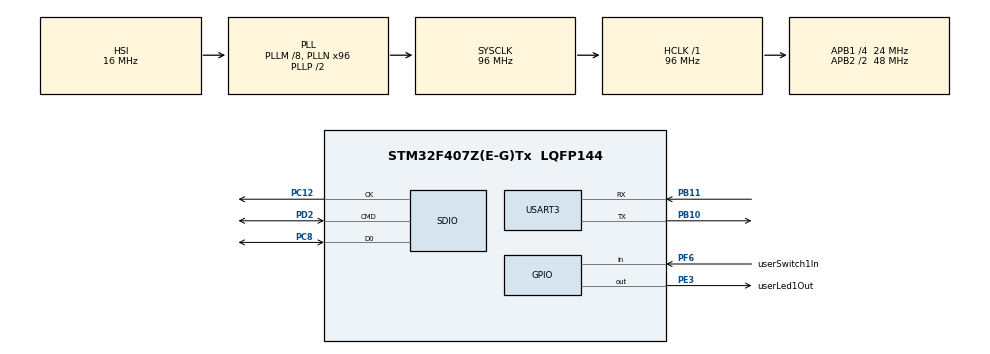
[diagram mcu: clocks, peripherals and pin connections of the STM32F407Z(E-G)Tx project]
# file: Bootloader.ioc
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FATFS._MAX_SS=4096
FATFS._USE_LFN=1
Mcu.Family=STM32F4
Mcu.Name=STM32F407Z(E-G)Tx
Mcu.Package=LQFP144
NVIC.PriorityGroup=NVIC_PRIORITYGROUP_4
PB10.Mode=Asynchronous
PB10.Signal=USART3_TX
PB11.Mode=Asynchronous
PB11.Signal=USART3_RX
PC12.Mode=SD_1_bit
PC12.Signal=SDIO_CK
PC8.Mode=SD_1_bit
PC8.Signal=SDIO_D0
PD2.Mode=SD_1_bit
PD2.Signal=SDIO_CMD
PE3.GPIO_Label=userLed1Out
PE3.Signal=GPIO_Output
PF6.GPIO_Label=userSwitch1In
PF6.GPIO_PuPd=GPIO_PULLUP
PF6.Signal=GPIO_Input
ProjectManager.HeapSize=0x200
ProjectManager.StackSize=0x400
ProjectManager.TargetToolchain=STM32CubeIDE
RCC.48MHZClocksFreq_Value=48000000
RCC.AHBFreq_Value=96000000
RCC.APB1CLKDivider=RCC_HCLK_DIV4
RCC.APB1Freq_Value=24000000
RCC.APB1TimFreq_Value=48000000
RCC.APB2CLKDivider=RCC_HCLK_DIV2
RCC.APB2Freq_Value=48000000
RCC.APB2TimFreq_Value=96000000
RCC.CortexFreq_Value=96000000
RCC.HCLKFreq_Value=96000000
RCC.HSE_VALUE=25000000
RCC.HSI_VALUE=16000000
RCC.LSE_VALUE=32768
RCC.PLLM=8
RCC.PLLN=96
RCC.SYSCLKFreq_VALUE=96000000
RCC.SYSCLKSource=RCC_SYSCLKSOURCE_PLLCLK
RCC.VCOOutputFreq_Value=192000000
SDIO.ClockDiv=1
USART3.VirtualMode=VM_ASYNC
VP_FATFS_VS_SDIO.Mode=SDIO
board=custom

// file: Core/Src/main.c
/* USER CODE BEGIN Header */
/**
 ******************************************************************************
 * @file           : main.c
 * @brief          : Main program body
 ******************************************************************************
 * @attention
 *
 * Copyright (c) 2024 STMicroelectronics.
 * All rights reserved.
 *
 * This software is licensed under terms that can be found in the LICENSE file
 * in the root directory of this software component.
 * If no LICENSE file comes with this software, it is provided AS-IS.
 *
 ******************************************************************************
 */
/* USER CODE END Header */
#include "main.h"
#include "fatfs.h"
#include "sdio.h"
#include "usart.h"
#include "gpio.h"

/* USER CODE BEGIN Includes */
#include "stdio.h"
/* USER CODE END Includes */

/* USER CODE BEGIN PD */
#define bufferSize 512
/* USER CODE END PD */

/* USER CODE BEGIN PV */

FATFS fatfs;
FIL fil;
FRESULT fresult;
FILINFO info;

UINT bytesRead = 0;
uint8_t readBuffer[bufferSize];
/* USER CODE END PV */

void SystemClock_Config(void);
/* USER CODE BEGIN PFP */
static void gotoApp(void);
/* USER CODE END PFP */

/* USER CODE BEGIN 0 */
void sendData(char *msg){
	while(*msg != '\0'){
		HAL_UART_Transmit(&huart3, (uint8_t *)msg, 1, 1000);
		msg++;
	}
}

void flashErase(void) {
	HAL_StatusTypeDef res;
	uint32_t sectorError;

	HAL_FLASH_Unlock();
	/* Check if the FLASH_FLAG_BSY */
	FLASH_WaitForLastOperation(HAL_MAX_DELAY);

	/* Clear all flags before write it to flash */
	__HAL_FLASH_CLEAR_FLAG(
			FLASH_FLAG_EOP | FLASH_FLAG_OPERR | FLASH_FLAG_WRPERR | FLASH_FLAG_PGAERR | FLASH_FLAG_PGPERR | FLASH_FLAG_PGSERR);

	sendData("Erasing the Flash Memory...\r\n");

	/* Erase the flash */
	FLASH_EraseInitTypeDef flashErase;

	flashErase.TypeErase = FLASH_TYPEERASE_SECTORS;
	flashErase.Sector = FLASH_SECTOR_5;
	flashErase.NbSectors = 2;
	flashErase.VoltageRange = FLASH_VOLTAGE_RANGE_3;

	res = HAL_FLASHEx_Erase(&flashErase, &sectorError);
	if (res != HAL_OK) {
		sendData("Flash erqse Error!\r\n");

	} else {
		sendData("Flash erase Successfull...!\r\n");
	}
}

void flashProgram(void) {
	uint32_t programBytesToRead = info.fsize;  // Get file size
	uint32_t currentAddress = 0x08040000;

	while (programBytesToRead > 0) {
		// Read up to 512 bytes from the file
		if ((fresult = f_read(&fil, readBuffer, bufferSize, &bytesRead))
				!= FR_OK) {
			sendData("Application.bin file read unsuccessfull...!\r\n");
		} else {
			sendData("Application.bin file read successfull...!\r\n");
		}

		// Write the data into flash memory, 4 bytes at a time
		for (uint32_t i = 0; i < bytesRead; i += 4) {
			HAL_FLASH_Program(FLASH_TYPEPROGRAM_WORD, currentAddress,
					*(uint32_t*) &readBuffer[i]);
			currentAddress += 4;
		}

		programBytesToRead -= bytesRead;
	}

	sendData(
			"/----------Write the data into flash memory Successfull----------/\r\n");
	HAL_FLASH_Lock();
}

/* USER CODE END 0 */

int main(void) {

	/* MCU Configuration--------------------------------------------------------*/

	/* Reset of all peripherals, Initializes the Flash interface and the Systick. */
	HAL_Init();

	/* Configure the system clock */
	SystemClock_Config();

	/* Initialize all configured peripherals */
	MX_GPIO_Init();
	MX_SDIO_SD_Init();
	MX_USART3_UART_Init();
	MX_FATFS_Init();
	/* USER CODE BEGIN 2 */

	sendData("/----------Starting Bootloader v0.1----------/\r\n");

	if ((fresult = f_mount(&fatfs, "0:/", 0)) != FR_OK) {
		sendData("Sdcard mounting unsuccessfull...!\r\n");
	} else {
		sendData("Sdcard mounting successfull...!\r\n");

		if ((fresult = f_open(&fil, "0:/Application.bin",
		FA_READ | FA_OPEN_ALWAYS)) != FR_OK) {
			sendData("Application.bin file open unsuccessfull...!\r\n");
		} else {
			sendData("Application.bin file open successfull...!\r\n");

			f_stat("0:/Application.bin", &info);
			flashErase();
			flashProgram();

			if ((fresult = f_close(&fil)) != FR_OK) {
				sendData("Application.bin file close unsuccessfull...!\r\n");
			} else {
				sendData("Application.bin file close successfull...!\r\n");
			}
		}
	}
	gotoApp();
	/* USER CODE END 2 */

	/* Infinite loop */
	while (1) {

	}
}

void SystemClock_Config(void) {
	RCC_OscInitTypeDef RCC_OscInitStruct = { 0 };
	RCC_ClkInitTypeDef RCC_ClkInitStruct = { 0 };

	/** Configure the main internal regulator output voltage
	 */
	__HAL_RCC_PWR_CLK_ENABLE();
	__HAL_PWR_VOLTAGESCALING_CONFIG(PWR_REGULATOR_VOLTAGE_SCALE1);

	/** Initializes the RCC Oscillators according to the specified parameters
	 * in the RCC_OscInitTypeDef structure.
	 */
	RCC_OscInitStruct.OscillatorType = RCC_OSCILLATORTYPE_HSI;
	RCC_OscInitStruct.HSIState = RCC_HSI_ON;
	RCC_OscInitStruct.HSICalibrationValue = RCC_HSICALIBRATION_DEFAULT;
	RCC_OscInitStruct.PLL.PLLState = RCC_PLL_ON;
	RCC_OscInitStruct.PLL.PLLSource = RCC_PLLSOURCE_HSI;
	RCC_OscInitStruct.PLL.PLLM = 8;
	RCC_OscInitStruct.PLL.PLLN = 96;
	RCC_OscInitStruct.PLL.PLLP = RCC_PLLP_DIV2;
	RCC_OscInitStruct.PLL.PLLQ = 4;
	if (HAL_RCC_OscConfig(&RCC_OscInitStruct) != HAL_OK) {
		Error_Handler();
	}

	/** Initializes the CPU, AHB and APB buses clocks
	 */
	RCC_ClkInitStruct.ClockType = RCC_CLOCKTYPE_HCLK | RCC_CLOCKTYPE_SYSCLK
			| RCC_CLOCKTYPE_PCLK1 | RCC_CLOCKTYPE_PCLK2;
	RCC_ClkInitStruct.SYSCLKSource = RCC_SYSCLKSOURCE_PLLCLK;
	RCC_ClkInitStruct.AHBCLKDivider = RCC_SYSCLK_DIV1;
	RCC_ClkInitStruct.APB1CLKDivider = RCC_HCLK_DIV4;
	RCC_ClkInitStruct.APB2CLKDivider = RCC_HCLK_DIV2;

	if (HAL_RCC_ClockConfig(&RCC_ClkInitStruct, FLASH_LATENCY_3) != HAL_OK) {
		Error_Handler();
	}
}

/* USER CODE BEGIN 4 */
/*#ifdef __GNUC__
int __to_putchar(int ch)
#else
int fputc(int ch, FILE *f)
#endif
{
	 Place your implementation of fputc here
	 e.g. write a character to the UART3 and Loop until the end of transmission
	HAL_UART_Transmit(&huart3, (uint8_t*) &ch, 1, 1000);

	return ch;
}*/

static void gotoApp(void) {
	sendData("/----------Jump to Application----------/\r\n");

	void (*appResetHandler)(void) = (void*)(*((volatile uint32_t *)(0x08040000 + 4U)));

	HAL_GPIO_WritePin(userLed1Out_GPIO_Port, userLed1Out_Pin, GPIO_PIN_SET);

	HAL_RCC_DeInit();
	HAL_DeInit();
	SysTick->CTRL = 0;
	SysTick->LOAD = 0;
	SysTick->VAL = 0;

	__set_MSP(*(volatile uint32_t*) 0x08040000);
	/*Jump to application*/
	appResetHandler(); // call the appResetHandler function
}
/* USER CODE END 4 */

void Error_Handler(void) {
	__disable_irq();
	while (1) {
	}
}
